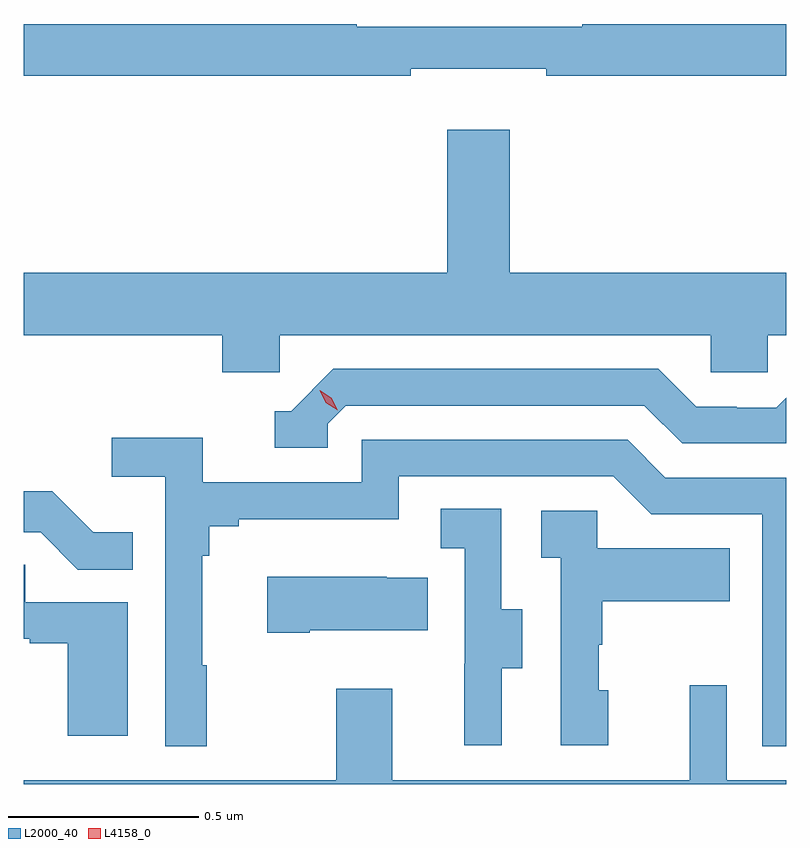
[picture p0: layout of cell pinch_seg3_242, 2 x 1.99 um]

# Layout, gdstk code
import gdstk
lib = gdstk.Library(unit=1e-6, precision=1e-09)
def P(c, l, *ps):  # polygons
    for p in ps: c.add(gdstk.Polygon(p, *l))
L2000_40 = (2000, 40)
L4158_0 = (4158, 0)

pinch_seg3_242 = lib.new_cell('pinch_seg3_242')
P(pinch_seg3_242, L2000_40, [(908.168,738.911),(908.524,738.911),(908.524,738.892),(909.153,738.892),(909.153,739.028),(908.618,739.028),(908.618,739.021),(908.027,739.021),(908.027,739.028),(907.153,739.028),(907.153,738.892),(908.168,738.892)],
  [(907.824,738.212),(908.955,738.212),(908.955,738.114),(909.105,738.114),(909.105,738.212),(909.153,738.212),(909.153,738.376),(908.428,738.376),(908.428,738.751),(908.264,738.751),(908.264,738.376),(907.153,738.376),(907.153,738.212),(907.673,738.212),(907.673,738.114),(907.824,738.114)],
  [(907.95,737.979),(907.998,738.027),(908.781,738.027),(908.88,737.928),(909.153,737.928),(909.153,738.048),(909.127,738.021),(909.024,738.021),(909.024,738.024),(908.917,738.024),(908.818,738.123),(907.965,738.123),(907.854,738.012),(907.811,738.012),(907.811,737.916),(907.95,737.916)],
  [(907.633,737.345),(907.621,737.345),(907.621,737.633),(907.64,737.633),(907.64,737.71),(907.717,737.71),(907.717,737.729),(908.136,737.729),(908.136,737.841),(908.7,737.841),(908.799,737.742),(909.09,737.742),(909.09,737.133),(909.153,737.133),(909.153,737.838),(908.836,737.838),(908.737,737.937),(908.04,737.937),(908.04,737.826),(907.622,737.826),(907.622,737.942),(907.383,737.942),(907.383,737.84),(907.524,737.84),(907.524,737.133),(907.633,737.133)],
  [(907.439,737.695),(907.335,737.695),(907.228,737.802),(907.153,737.802),(907.153,737.694),(907.197,737.694),(907.295,737.596),(907.439,737.596)],
  [(908.407,737.338),(908.461,737.338),(908.461,737.493),(908.406,737.493),(908.406,737.756),(908.247,737.756),(908.247,737.653),(908.31,737.653),(908.31,737.349),(908.309,737.349),(908.309,737.136),(908.407,737.136)],
  [(908.686,737.28),(908.661,737.28),(908.661,737.399),(908.671,737.399),(908.671,737.513),(909.005,737.513),(909.005,737.653),(908.658,737.653),(908.658,737.751),(908.511,737.751),(908.511,737.627),(908.562,737.627),(908.562,737.136),(908.686,737.136)],
  [(907.426,737.511),(907.157,737.511),(907.157,737.609),(907.153,737.609),(907.153,737.415),(907.169,737.415),(907.169,737.403),(907.268,737.403),(907.268,737.16),(907.426,737.16)],
  [(907.903,737.438),(908.213,737.438),(908.213,737.575),(908.105,737.575),(908.105,737.578),(907.791,737.578),(907.791,737.431),(907.903,737.431)],
  [(909.153,737.044),(908.997,737.044),(908.997,737.293),(908.9,737.293),(908.9,737.044),(908.119,737.044),(908.119,737.284),(907.972,737.284),(907.972,737.044),(907.153,737.044),(907.153,737.034),(909.153,737.034)])
P(pinch_seg3_242, L4158_0, [(907.976,738.014),(907.945,738.034),(907.929,738.067),(907.929,738.067),(907.929,738.067),(907.96,738.047),(907.976,738.014),(907.976,738.014)])

lib.write_gds('pinch_seg3_242.gds')
